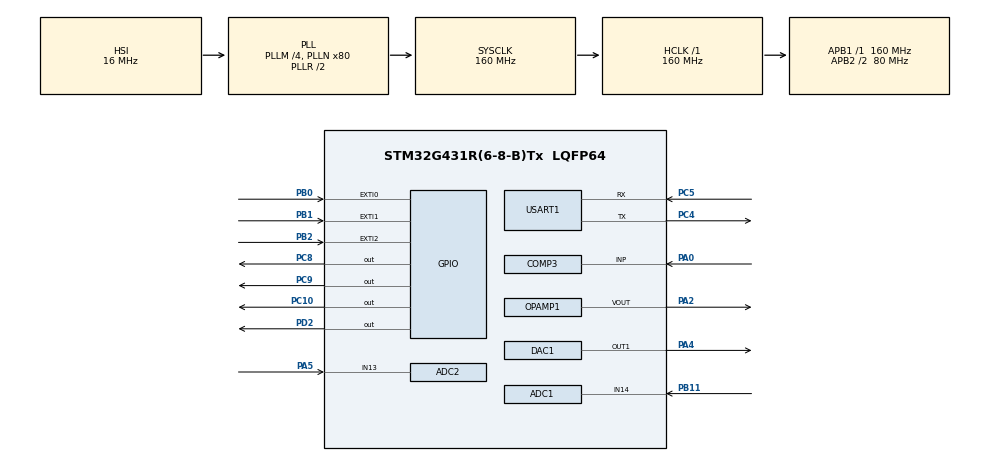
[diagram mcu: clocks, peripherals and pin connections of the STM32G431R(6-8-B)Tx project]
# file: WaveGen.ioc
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ADC1.Channel-0\#ChannelRegularConversion=ADC_CHANNEL_14
ADC1.NbrOfConversionFlag=1
ADC1.OffsetNumber-0\#ChannelRegularConversion=ADC_OFFSET_NONE
ADC1.Rank-0\#ChannelRegularConversion=1
ADC1.SamplingTime-0\#ChannelRegularConversion=ADC_SAMPLETIME_2CYCLES_5
ADC1.master=1
ADC2.Channel-1\#ChannelRegularConversion=ADC_CHANNEL_13
ADC2.ContinuousConvMode=DISABLE
ADC2.EnableRegularConversion=ENABLE
ADC2.ExternalTrigConv=ADC_EXTERNALTRIG_T4_TRGO
ADC2.NbrOfConversionFlag=1
ADC2.OffsetNumber-1\#ChannelRegularConversion=ADC_OFFSET_NONE
ADC2.Rank-1\#ChannelRegularConversion=1
ADC2.SamplingTime-1\#ChannelRegularConversion=ADC_SAMPLETIME_2CYCLES_5
COMP3.TriggerMode=COMP_TRIGGERMODE_IT_RISING
DAC1.DAC_OutputBuffer-DAC_OUT1=DAC_OUTPUTBUFFER_ENABLE
DAC1.DAC_SampleAndHold-DAC_OUT1=DAC_SAMPLEANDHOLD_DISABLE
DAC1.DAC_Trigger2_OUT1-DAC_OUT1=DAC_TRIGGER_SOFTWARE
DAC1.DAC_Trigger_OUT1-DAC_OUT1=DAC_TRIGGER_T6_TRGO
DAC1.WaveGeneration_OUT1-DAC_OUT1=DISABLE
DAC3.DAC_Trigger2_OUT1-DAC_OUT1_Int=DAC_TRIGGER_NONE
DAC3.DAC_Trigger_OUT1-DAC_OUT1_Int=DAC_TRIGGER_T6_TRGO
Dma.ADC1.3.Direction=DMA_PERIPH_TO_MEMORY
Dma.ADC1.3.EventEnable=DISABLE
Dma.ADC1.3.Instance=DMA1_Channel3
Dma.ADC1.3.MemDataAlignment=DMA_MDATAALIGN_HALFWORD
Dma.ADC1.3.MemInc=DMA_MINC_ENABLE
Dma.ADC1.3.Mode=DMA_CIRCULAR
Dma.ADC1.3.PeriphDataAlignment=DMA_PDATAALIGN_HALFWORD
Dma.ADC1.3.PeriphInc=DMA_PINC_DISABLE
Dma.ADC1.3.Polarity=HAL_DMAMUX_REQ_GEN_RISING
Dma.ADC1.3.Priority=DMA_PRIORITY_LOW
Dma.ADC1.3.RequestNumber=1
Dma.ADC1.3.SignalID=NONE
Dma.ADC1.3.SyncEnable=DISABLE
Dma.ADC1.3.SyncPolarity=HAL_DMAMUX_SYNC_NO_EVENT
Dma.ADC1.3.SyncRequestNumber=1
Dma.ADC1.3.SyncSignalID=NONE
Dma.ADC2.0.Direction=DMA_PERIPH_TO_MEMORY
Dma.ADC2.0.EventEnable=DISABLE
Dma.ADC2.0.Instance=DMA1_Channel2
Dma.ADC2.0.MemDataAlignment=DMA_MDATAALIGN_HALFWORD
Dma.ADC2.0.MemInc=DMA_MINC_ENABLE
Dma.ADC2.0.Mode=DMA_CIRCULAR
Dma.ADC2.0.PeriphDataAlignment=DMA_PDATAALIGN_HALFWORD
Dma.ADC2.0.PeriphInc=DMA_PINC_DISABLE
Dma.ADC2.0.Polarity=HAL_DMAMUX_REQ_GEN_RISING
Dma.ADC2.0.Priority=DMA_PRIORITY_LOW
Dma.ADC2.0.RequestNumber=1
Dma.ADC2.0.SignalID=NONE
Dma.ADC2.0.SyncEnable=DISABLE
Dma.ADC2.0.SyncPolarity=HAL_DMAMUX_SYNC_NO_EVENT
Dma.ADC2.0.SyncRequestNumber=1
Dma.ADC2.0.SyncSignalID=NONE
Dma.CORDIC_READ.1.Direction=DMA_PERIPH_TO_MEMORY
Dma.CORDIC_READ.1.EventEnable=DISABLE
Dma.CORDIC_READ.1.Instance=DMA2_Channel2
Dma.CORDIC_READ.1.MemDataAlignment=DMA_MDATAALIGN_WORD
Dma.CORDIC_READ.1.MemInc=DMA_MINC_ENABLE
Dma.CORDIC_READ.1.Mode=DMA_NORMAL
Dma.CORDIC_READ.1.PeriphDataAlignment=DMA_PDATAALIGN_WORD
Dma.CORDIC_READ.1.PeriphInc=DMA_PINC_DISABLE
Dma.CORDIC_READ.1.Polarity=HAL_DMAMUX_REQ_GEN_RISING
Dma.CORDIC_READ.1.Priority=DMA_PRIORITY_LOW
Dma.CORDIC_READ.1.RequestNumber=1
Dma.CORDIC_READ.1.SignalID=NONE
Dma.CORDIC_READ.1.SyncEnable=DISABLE
Dma.CORDIC_READ.1.SyncPolarity=HAL_DMAMUX_SYNC_NO_EVENT
Dma.CORDIC_READ.1.SyncRequestNumber=1
Dma.CORDIC_READ.1.SyncSignalID=NONE
Dma.CORDIC_WRITE.2.Direction=DMA_MEMORY_TO_PERIPH
Dma.CORDIC_WRITE.2.EventEnable=DISABLE
Dma.CORDIC_WRITE.2.Instance=DMA2_Channel3
Dma.CORDIC_WRITE.2.MemDataAlignment=DMA_MDATAALIGN_WORD
Dma.CORDIC_WRITE.2.MemInc=DMA_MINC_ENABLE
Dma.CORDIC_WRITE.2.Mode=DMA_NORMAL
Dma.CORDIC_WRITE.2.PeriphDataAlignment=DMA_PDATAALIGN_WORD
Dma.CORDIC_WRITE.2.PeriphInc=DMA_PINC_DISABLE
Dma.CORDIC_WRITE.2.Polarity=HAL_DMAMUX_REQ_GEN_RISING
Dma.CORDIC_WRITE.2.Priority=DMA_PRIORITY_LOW
Dma.CORDIC_WRITE.2.RequestNumber=1
Dma.CORDIC_WRITE.2.SignalID=NONE
Dma.CORDIC_WRITE.2.SyncEnable=DISABLE
Dma.CORDIC_WRITE.2.SyncPolarity=HAL_DMAMUX_SYNC_NO_EVENT
Dma.CORDIC_WRITE.2.SyncRequestNumber=1
Dma.CORDIC_WRITE.2.SyncSignalID=NONE
Dma.DAC1_CH1.5.Direction=DMA_MEMORY_TO_PERIPH
Dma.DAC1_CH1.5.EventEnable=DISABLE
Dma.DAC1_CH1.5.Instance=DMA2_Channel1
Dma.DAC1_CH1.5.MemDataAlignment=DMA_MDATAALIGN_HALFWORD
Dma.DAC1_CH1.5.MemInc=DMA_MINC_ENABLE
Dma.DAC1_CH1.5.Mode=DMA_CIRCULAR
Dma.DAC1_CH1.5.PeriphDataAlignment=DMA_PDATAALIGN_HALFWORD
Dma.DAC1_CH1.5.PeriphInc=DMA_PINC_DISABLE
Dma.DAC1_CH1.5.Polarity=HAL_DMAMUX_REQ_GEN_RISING
Dma.DAC1_CH1.5.Priority=DMA_PRIORITY_HIGH
Dma.DAC1_CH1.5.RequestNumber=1
Dma.DAC1_CH1.5.SignalID=NONE
Dma.DAC1_CH1.5.SyncEnable=DISABLE
Dma.DAC1_CH1.5.SyncPolarity=HAL_DMAMUX_SYNC_NO_EVENT
Dma.DAC1_CH1.5.SyncRequestNumber=1
Dma.DAC1_CH1.5.SyncSignalID=NONE
Dma.DAC3_CH1.4.Direction=DMA_MEMORY_TO_PERIPH
Dma.DAC3_CH1.4.EventEnable=DISABLE
Dma.DAC3_CH1.4.Instance=DMA1_Channel1
Dma.DAC3_CH1.4.MemDataAlignment=DMA_MDATAALIGN_HALFWORD
Dma.DAC3_CH1.4.MemInc=DMA_MINC_ENABLE
Dma.DAC3_CH1.4.Mode=DMA_CIRCULAR
Dma.DAC3_CH1.4.PeriphDataAlignment=DMA_PDATAALIGN_HALFWORD
Dma.DAC3_CH1.4.PeriphInc=DMA_PINC_DISABLE
Dma.DAC3_CH1.4.Polarity=HAL_DMAMUX_REQ_GEN_RISING
Dma.DAC3_CH1.4.Priority=DMA_PRIORITY_HIGH
Dma.DAC3_CH1.4.RequestNumber=1
Dma.DAC3_CH1.4.SignalID=NONE
Dma.DAC3_CH1.4.SyncEnable=DISABLE
Dma.DAC3_CH1.4.SyncPolarity=HAL_DMAMUX_SYNC_NO_EVENT
Dma.DAC3_CH1.4.SyncRequestNumber=1
Dma.DAC3_CH1.4.SyncSignalID=NONE
Dma.Request0=ADC2
Dma.Request1=CORDIC_READ
Dma.Request2=CORDIC_WRITE
Dma.Request3=ADC1
Dma.Request4=DAC3_CH1
Dma.Request5=DAC1_CH1
Dma.Request6=USART1_RX
Dma.USART1_RX.6.Direction=DMA_PERIPH_TO_MEMORY
Dma.USART1_RX.6.EventEnable=DISABLE
Dma.USART1_RX.6.Instance=DMA1_Channel4
Dma.USART1_RX.6.MemDataAlignment=DMA_MDATAALIGN_BYTE
Dma.USART1_RX.6.MemInc=DMA_MINC_ENABLE
Dma.USART1_RX.6.Mode=DMA_NORMAL
Dma.USART1_RX.6.PeriphDataAlignment=DMA_PDATAALIGN_BYTE
Dma.USART1_RX.6.PeriphInc=DMA_PINC_DISABLE
Dma.USART1_RX.6.Polarity=HAL_DMAMUX_REQ_GEN_RISING
Dma.USART1_RX.6.Priority=DMA_PRIORITY_LOW
Dma.USART1_RX.6.RequestNumber=1
Dma.USART1_RX.6.SignalID=NONE
Dma.USART1_RX.6.SyncEnable=DISABLE
Dma.USART1_RX.6.SyncPolarity=HAL_DMAMUX_SYNC_NO_EVENT
Dma.USART1_RX.6.SyncRequestNumber=1
Dma.USART1_RX.6.SyncSignalID=NONE
Mcu.Family=STM32G4
Mcu.Name=STM32G431R(6-8-B)Tx
Mcu.Package=LQFP64
NVIC.ADC1_2_IRQn=true\:2\:0\:true\:false\:true\:true\:true\:true
NVIC.COMP1_2_3_IRQn=true\:3\:0\:true\:false\:true\:false\:true\:true
NVIC.CORDIC_IRQn=true\:3\:0\:true\:false\:true\:true\:true\:true
NVIC.DMA1_Channel1_IRQn=true\:0\:0\:false\:false\:true\:false\:true\:true
NVIC.DMA1_Channel2_IRQn=true\:0\:0\:false\:false\:true\:false\:true\:true
NVIC.DMA1_Channel3_IRQn=true\:0\:0\:false\:false\:true\:false\:true\:true
NVIC.DMA1_Channel4_IRQn=true\:0\:0\:false\:false\:true\:false\:true\:true
NVIC.DMA2_Channel1_IRQn=true\:2\:0\:true\:false\:true\:false\:true\:true
NVIC.DMA2_Channel2_IRQn=true\:2\:0\:true\:false\:true\:false\:true\:true
NVIC.DMA2_Channel3_IRQn=true\:2\:0\:true\:false\:true\:false\:true\:true
NVIC.EXTI0_IRQn=true\:3\:0\:true\:false\:true\:true\:true\:true
NVIC.EXTI1_IRQn=true\:3\:0\:true\:false\:true\:true\:true\:true
NVIC.EXTI2_IRQn=true\:3\:0\:true\:false\:true\:true\:true\:true
NVIC.PriorityGroup=NVIC_PRIORITYGROUP_4
NVIC.TIM2_IRQn=true\:0\:0\:false\:false\:true\:true\:true\:true
NVIC.TIM4_IRQn=true\:2\:0\:true\:false\:true\:true\:true\:true
NVIC.TIM6_DAC_IRQn=true\:2\:0\:true\:false\:true\:true\:true\:true
NVIC.TIM7_IRQn=true\:2\:0\:true\:false\:true\:true\:true\:true
NVIC.USART1_IRQn=true\:0\:0\:false\:false\:true\:true\:true\:true
OPAMP1.PowerMode=OPAMP_POWERMODE_HIGHSPEED
PA0.Mode=INP
PA0.Signal=COMP3_INP
PA13.Mode=Serial_Wire
PA13.Signal=SYS_JTMS-SWDIO
PA14.Mode=Serial_Wire
PA14.Signal=SYS_JTCK-SWCLK
PA2.Mode=Follower-DAC_OUT2-INP
PA2.Signal=OPAMP1_VOUT
PA4.Signal=COMP_DAC11_group
PA5.Mode=IN13-Single-Ended
PA5.Signal=ADC2_IN13
PB0.Signal=GPXTI0
PB1.Signal=GPXTI1
PB11.Mode=IN14-Single-Ended
PB11.Signal=ADC1_IN14
PB2.Signal=GPXTI2
PC10.Signal=GPIO_Output
PC4.Mode=Asynchronous
PC4.Signal=USART1_TX
PC5.Mode=Asynchronous
PC5.Signal=USART1_RX
PC8.Signal=GPIO_Output
PC9.Signal=GPIO_Output
PD2.Signal=GPIO_Output
PF0-OSC_IN.Mode=HSE-External-Oscillator
PF0-OSC_IN.Signal=RCC_OSC_IN
PF1-OSC_OUT.Mode=HSE-External-Oscillator
PF1-OSC_OUT.Signal=RCC_OSC_OUT
ProjectManager.HeapSize=0x200
ProjectManager.StackSize=0x400
ProjectManager.TargetToolchain=MDK-ARM V5
RCC.ADC12Freq_Value=160000000
RCC.AHBFreq_Value=160000000
RCC.APB1Freq_Value=160000000
RCC.APB1TimFreq_Value=160000000
RCC.APB2CLKDivider=RCC_HCLK_DIV2
RCC.APB2Freq_Value=80000000
RCC.APB2TimFreq_Value=160000000
RCC.CortexFreq_Value=160000000
RCC.EXTERNAL_CLOCK_VALUE=12288000
RCC.HCLKFreq_Value=160000000
RCC.HSE_VALUE=8000000
RCC.HSI48_VALUE=48000000
RCC.HSI_VALUE=16000000
RCC.LSE_VALUE=32768
RCC.PLLM=RCC_PLLM_DIV4
RCC.PLLN=80
RCC.SYSCLKFreq_VALUE=160000000
RCC.SYSCLKSource=RCC_SYSCLKSOURCE_PLLCLK
RCC.USBFreq_Value=160000000
RCC.VCOOutputFreq_Value=320000000
SH.COMP_DAC11_group.0=DAC1_OUT1,DAC_OUT1
TIM2.AutoReloadPreload=TIM_AUTORELOAD_PRELOAD_ENABLE
TIM2.PeriodNoDither=15999
TIM2.TIM_MasterOutputTrigger=TIM_TRGO_UPDATE
TIM2.TIM_MasterSlaveMode=TIM_MASTERSLAVEMODE_ENABLE
TIM4.PeriodNoDither=9999
TIM4.Prescaler=1599
TIM4.TIM_MasterOutputTrigger=TIM_TRGO_UPDATE
TIM4.TIM_MasterSlaveMode=TIM_MASTERSLAVEMODE_DISABLE
TIM7.AutoReloadPreload=TIM_AUTORELOAD_PRELOAD_ENABLE
TIM7.Prescaler=159
USART1.VirtualMode-Asynchronous=VM_ASYNC
VP_COMP3_VS_VREFINT.Mode=VREFINT
VP_CORDIC_VS_CORDIC.Mode=CORDIC_Activate
VP_DAC3_VS_DACI1.Mode=DAC_OUT1_Int
VP_SYS_VS_DBSignals.Mode=DisableDeadBatterySignals
VP_TIM2_VS_ClockSourceINT.Mode=Internal
VP_TIM3_VS_ClockSourceITR.Mode=TriggerSource_ITR1
VP_TIM3_VS_ControllerModeClock.Mode=Clock Mode
VP_TIM4_VS_ClockSourceINT.Mode=Internal
VP_TIM7_VS_ClockSourceINT.Mode=Enable_Timer
board=custom

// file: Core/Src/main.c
/* USER CODE BEGIN Header */
/**
  ******************************************************************************
  * @file           : main.c
  * @brief          : Main program body
  ******************************************************************************
  * @attention
  *
  * Copyright (c) 2023 STMicroelectronics.
  * All rights reserved.
  *
  * This software is licensed under terms that can be found in the LICENSE file
  * in the root directory of this software component.
  * If no LICENSE file comes with this software, it is provided AS-IS.
  *
  ******************************************************************************
  */
/* USER CODE END Header */
#include "main.h"
#include "adc.h"
#include "comp.h"
#include "cordic.h"
#include "dac.h"
#include "dma.h"
#include "opamp.h"
#include "tim.h"
#include "usart.h"
#include "gpio.h"

/* USER CODE BEGIN Includes */

#include <stdbool.h>
#include <stdlib.h>
#include <stdarg.h>
#include <stdio.h>
#include <string.h>
#include <math.h>
#include "lcd.h"

/* USER CODE END Includes */

/* USER CODE BEGIN PTD */

typedef struct _WaveOptions {
	bool		on;
	uint8_t		pin;	// Pin PAx
	bool		altMode;// PWM: TIM mode & TRI: DAC1 mode, others ignore
	bool		opAmp;	// Alternatives ignore
	bool		cordic;
	uint16_t	A;		// CON mode ignore
	uint16_t	dA;		// CON mode ignore, x0.01
	uint16_t	F;		// CON mode ignore
	uint16_t	T;		// CON mode ignore
	uint16_t	O;
	uint16_t	dO;
	uint16_t	D;		// PWM only
	uint16_t	HT;		// PWM only
} WaveOptions;

/* USER CODE END PTD */

/* USER CODE BEGIN PD */

#define GRAPH_UPD_F 40 //Hz
#define Pi			3.141593f
#define DARK_MAG	/*0x9814*/ White

#define PwmFunc	(opts[0].A * (__HAL_TIM_GetCounter(&htim3) < opts[0].HT) + opts[0].O)
//#define TriFunc	(opts[1].A * ((__HAL_TIM_GetCounter(&htim3) % 2) ? (1 - (float)__HAL_TIM_GetCounter(&htim3) / __HAL_TIM_GET_AUTORELOAD(&htim3)) : \
	((float)__HAL_TIM_GetCounter(&htim3) / __HAL_TIM_GET_AUTORELOAD(&htim3))) + opts[1].O)
#define SawFunc (opts[3].A * (float)__HAL_TIM_GetCounter(&htim3) / __HAL_TIM_GET_AUTORELOAD(&htim3) + opts[3].O)
//Triangle wave alg: uses a saw func but twice the size
#define TriFunc (opts[1].A * fabs((float)__HAL_TIM_GetCounter(&htim3) / __HAL_TIM_GET_AUTORELOAD(&htim3) * 2 - 1) + opts[1].O)
#define SinFunc (opts[2].A * sin((float)__HAL_TIM_GetCounter(&htim3) / __HAL_TIM_GET_AUTORELOAD(&htim3) * Pi *2) / 2 + opts[2].O + 2048)
#define ConFunc opts[4].O

/* USER CODE END PD */

/* USER CODE BEGIN PM */

#define lds(x, s) \
	HAL_GPIO_WritePin(GPIOC, 0x0080 << x, s); \
	HAL_GPIO_WritePin(GPIOD, 0x0002, 1); \
	HAL_GPIO_WritePin(GPIOD, 0x0002, 0)

#define transmit(m) \
	HAL_UART_Transmit(&huart1, (uint8_t *)m, sizeof(m), 0x7FFF)

#define SinSend(x, f)	/*Call sinSend(cnt+1) right after the calculated value is used to minimize waiting time*/ \
	sinCalcBuf = ((int)(x * f * .5 - 1) << 16) + 1; \
	memset(sinCalcRes, 0, 2); \
	waitCalc = true; \
	HAL_CORDIC_Calculate_DMA(&hcordic, &sinCalcBuf, (int32_t *)sinCalcRes, 1, CORDIC_DMA_DIR_IN_OUT)

#define getKeyRange(v)                                                                                                           	\
    ((v < 2500) ? (v < 1500) ? 3 - !(v & 0xFF00) - !(v & 0xFC00) : 5 - !(v & 0xF800) : (v < 3600) ? 6 + (v > 3000) 				\
                                                                                                                : (v < 4000) << 3)

#define lcdSideUpdAll() \
	for(int i = 9; --i; ) lcdUpdSide(i, false); \
	lcdUpdSide(0, true)

#define debug(x) \
	uint8_t *t = format("%6d", __HAL_TIM_GetCounter(&htim3));\
	LCD_DisplayStringLine(Line1, t);\
	free(t)

/* USER CODE END PM */

/* USER CODE BEGIN PV */

const uint8_t topStr[] 		= "PWM Wave \0Triangle \0Sine Wave\0Sawtooth \0Constant ";
const uint8_t onOffStr[]	= "Off \0 On ";
const uint8_t altsStr[]		= " DA \0TIMR\0DA_1";

uint16_t 	adcBuf[2]	= {0}; 	// use as uint32_t in DMA
uint32_t 	adc1Buf		= 0;
//uint32_t	dac1val		= 0;
//uint32_t	dac3val		= 0;
uint8_t  	topSel 		= 0; 	// 0 - 4 valid
uint8_t		sideSel		= 0; 	// 0 - 7/8 valid
uint16_t	graphY		= 310;

WaveOptions opts[5];
WaveOptions *currentOpts = opts;

int32_t 	sinCalcBuf = 0;
volatile int16_t sinCalcRes[2] = {0};

uint16_t 	adcLoopbackLastVal = 220;
uint16_t 	dacGraphLastVal = 220;

bool 		waitCalc = false;

uint8_t 	rxBuf[128] 	= {0};
bool		rxIdle		= false;
uint32_t	rxLen		= 0;

/* USER CODE END PV */

void SystemClock_Config(void);
/* USER CODE BEGIN PFP */

uint8_t *format(char *, ...);

void HAL_TIM_PeriodElapsedCallback(TIM_HandleTypeDef *);
void HAL_GPIO_EXTI_Callback(uint16_t);
void HAL_COMP_TriggerCallback(COMP_HandleTypeDef *);
void HAL_CORDIC_CalculateCpltCallback(CORDIC_HandleTypeDef *);

void emuSetTim(const uint16_t);
void lcdSideShow(uint8_t, const uint8_t *, bool, bool);
void lcdUpdSide(uint8_t , bool);
void drawPt(uint16_t, uint16_t, uint16_t);
void graphReset(void);
void AAProc(uint16_t, uint16_t);

/* USER CODE END PFP */

int main(void)
{

  /* MCU Configuration--------------------------------------------------------*/

  /* Reset of all peripherals, Initializes the Flash interface and the Systick. */
  HAL_Init();

  /* Configure the system clock */
  SystemClock_Config();

  /* Initialize all configured peripherals */
  MX_GPIO_Init();
  MX_DMA_Init();
  MX_DAC3_Init();
  MX_OPAMP1_Init();
  MX_ADC2_Init();
  MX_CORDIC_Init();
  MX_DAC1_Init();
  MX_TIM2_Init();
  MX_COMP3_Init();
  MX_TIM7_Init();
  MX_TIM4_Init();
  MX_TIM3_Init();
  MX_ADC1_Init();
  MX_USART1_UART_Init();
  /* USER CODE BEGIN 2 */

	//options init
	for(int i = 5; --i; ) {
		currentOpts->on 	= false; 	//str+0, +5
		currentOpts->pin	= 2u;		//format
		currentOpts->altMode= false;	//str+10, +15
		currentOpts->opAmp	= true;		//"OAmp"
		currentOpts->cordic = false;	//"Cord"
		currentOpts->A		= 4095;		//No display
		currentOpts->dA		= 330;
		currentOpts->D		= 0;
		currentOpts->F		= 1;
		currentOpts->HT		= 0;		//No display
		//currentOpts->T	= 1;		//No display
		currentOpts->O		= 0;		//No display
		currentOpts->dO		= 0;
		++currentOpts;
	}
	currentOpts = opts;

	transmit("Initializing...");
	uint8_t *txBuf = (uint8_t *)"Init......";
	HAL_UART_Transmit_DMA(&huart1, txBuf, 11);
	__HAL_UART_ENABLE_IT(&huart1, UART_IT_IDLE);
	HAL_UART_Receive_DMA(&huart1, rxBuf, 128);

	CORDIC_ConfigTypeDef cordicCfg;
	cordicCfg.Function 	= CORDIC_FUNCTION_SINE;
	cordicCfg.InSize	= CORDIC_INSIZE_16BITS;
	cordicCfg.OutSize	= CORDIC_OUTSIZE_16BITS;
	cordicCfg.Scale		= CORDIC_SCALE_0;
	cordicCfg.NbRead	= CORDIC_NBREAD_2;
	cordicCfg.NbWrite	= CORDIC_NBWRITE_2;
	cordicCfg.Precision = CORDIC_PRECISION_10CYCLES;
	HAL_CORDIC_Configure(&hcordic, &cordicCfg);

	HAL_OPAMP_SelfCalibrate(&hopamp1);
	HAL_OPAMP_Start(&hopamp1);

    LCD_Init();
    LCD_SetBackColor(Black);
    LCD_SetTextColor(White);
    LCD_Clear(Black);
    LCD_DrawRect( 30, 320, 200, 250);
	LCD_DrawLine( 58, 310, 230, Horizontal); //0.0V
	LCD_DrawLine( 73, 310, 230, Horizontal); //1.0V
	LCD_DrawLine(122, 310, 230, Horizontal); //2.0V
	LCD_DrawLine(171, 310, 230, Horizontal); //3.0V
	LCD_DrawLine(220, 310, 230, Horizontal); //3.3V
	LCD_DisplayStringLine(Line0, (uint8_t *)(topStr + topSel * 10));
    lcdSideUpdAll();

	HAL_COMP_Start(&hcomp3);

    HAL_ADCEx_Calibration_Start(&hadc2, ADC_SINGLE_ENDED);
    HAL_ADC_Start_DMA(&hadc2, (uint32_t *)adcBuf, 2);

	HAL_ADCEx_Calibration_Start(&hadc1, ADC_SINGLE_ENDED);
	HAL_ADC_Start_DMA(&hadc1, &adc1Buf, 1);

	HAL_DAC_SetValue(&hdac1, DAC_CHANNEL_1, DAC_ALIGN_12B_R, 0);
	HAL_DAC_SetValue(&hdac3, DAC_CHANNEL_1, DAC_ALIGN_12B_R, 0);
	HAL_DAC_Start(&hdac1, DAC_CHANNEL_1);
	HAL_DAC_Start(&hdac3, DAC_CHANNEL_1);
//	HAL_DAC_Start_DMA(&hdac1, DAC_CHANNEL_1, &dac1val, 1, DAC_ALIGN_12B_R);
//	HAL_DAC_Start_DMA(&hdac3, DAC_CHANNEL_1, &dac3val, 1, DAC_ALIGN_12B_R);

	__HAL_TIM_SetAutoreload(&htim7, 1000000 / GRAPH_UPD_F);

	HAL_TIM_Base_Start_IT(&htim4); //ADC trigger
	HAL_TIM_Base_Start(&htim3);	   //DAC clock
	//HAL_TIM_Base_Start_IT(&htim6); //DAC updater
	HAL_TIM_Base_Start_IT(&htim2); //new DAC updater
	//HAL_TIM_Base_Start_IT(&htim7); //Graphic updater

	register int 	kr;
	register bool	waitLift = false;

  /* USER CODE END 2 */

  /* Infinite loop */
  /* USER CODE BEGIN WHILE */
    while (1)
    {
		if(rxIdle) {
			rxIdle = false;
			uint8_t *t = format("Len: %d, Data: %s", rxLen, rxBuf);
			transmit(t);
			free(t);
			HAL_UART_Receive_DMA(&huart1, rxBuf, 128);
		}
		kr = getKeyRange(adcBuf[0]);
//		uint8_t *t = format("%4d %4d", kr, adcBuf[0]);
//		LCD_DisplayStringLine(Line8, t);
//		free(t);
		if(!kr) {
			waitLift = false;
			continue;
		}
	    if(!waitLift && kr == getKeyRange(adcBuf[1])) {
			switch(getKeyRange(adcBuf[0])) {
				case 1: //-1000
					if(sideSel == 5) {
						currentOpts->dA = 0;
						currentOpts->A	= currentOpts->dA / 330.0 * 0x0FFF;
						break;
					}
					if(sideSel == 6) {
						if(currentOpts->F <= 1001) currentOpts->F = 1;
						else currentOpts->F -= 1000;
						__HAL_TIM_SetAutoreload(&htim3, 10000 / currentOpts->F);
						break;
					}
					if(sideSel == 7) {
						currentOpts->dO = 0;
						currentOpts->O	= currentOpts->dO / 330.0 * 0x0FFF;
						break;
					}
					if(sideSel == 8) {
						currentOpts->D = 0;
						break;
					}
					break;
				case 2: //-100
					if(sideSel == 5) {
						if(currentOpts->dA < 101) currentOpts->dA = 0;
						else currentOpts->dA -= 100;
						currentOpts->A	= currentOpts->dA / 330.0 * 0x0FFF;
						break;
					}
					if(sideSel == 6) {
						if(currentOpts->F < 102) currentOpts->F = 1;
						else currentOpts->F -= 100;
						__HAL_TIM_SetAutoreload(&htim3, 10000 / currentOpts->F);
						break;
					}
					if(sideSel == 7) {
						if(currentOpts->dO < 101) currentOpts->O = 0;
						else currentOpts->dO -= 100;
						currentOpts->O	= currentOpts->dO / 330.0 * 0x0FFF;
					}
					if(sideSel == 8) {
						currentOpts->D = 0;
						break;
					}
					break;
				case 3: //-10
					if(sideSel == 5) {
						if(currentOpts->dA < 11) currentOpts->dA = 0;
						else currentOpts->dA -= 10;
						currentOpts->A	= currentOpts->dA / 330.0 * 0x0FFF;
						break;
					}
					if(sideSel == 6) {
						if(currentOpts->F < 12) currentOpts->F = 1;
						else currentOpts->F -= 10;
						__HAL_TIM_SetAutoreload(&htim3, 10000 / currentOpts->F);
						break;
					}
					if(sideSel == 7) {
						if(currentOpts->dO < 11) currentOpts->O = 0;
						else currentOpts->dO -= 10;
						currentOpts->O	= currentOpts->dO / 330.0 * 0x0FFF;
					}
					if(sideSel == 8) {
						if(currentOpts->D < 11) currentOpts->D = 0;
						else currentOpts->D -= 10;
						break;
					}
					break;
				case 4: //-1
					if(sideSel == 5) {
						if(currentOpts->dA < 1) break;
						currentOpts->dA--;
						currentOpts->A	= currentOpts->dA / 330.0 * 0x0FFF;
						break;
					}
					if(sideSel == 6) {
						if(currentOpts->F < 2) break;
						currentOpts->F--;
						__HAL_TIM_SetAutoreload(&htim3, 10000 / currentOpts->F);
						break;
					}
					if(sideSel == 7) {
						if(currentOpts->dO < 1) break;
						currentOpts->dO--;
						currentOpts->O	= currentOpts->dO / 330.0 * 0x0FFF;
					}
					if(sideSel == 8) {
						if(currentOpts->D < 1) break;
						currentOpts->D--;
						break;
					}
					break;
				case 5: //+1000
					if(sideSel == 5) {
						currentOpts->dA = 330;
						currentOpts->A	= currentOpts->dA / 330.0 * 0x0FFF;
						break;
					}
					if(sideSel == 6) {
						if(currentOpts->F > 8998) currentOpts->F = 9999;
						else currentOpts->F += 1000;
						__HAL_TIM_SetAutoreload(&htim3, 10000 / currentOpts->F);
						break;
					}
					if(sideSel == 7) {
						currentOpts->dO = 330 - currentOpts->dA;
						currentOpts->O	= currentOpts->dO / 330.0 * 0x0FFF;
						break;
					}
					if(sideSel == 8) {
						currentOpts->D = 100;
						break;
					}
					break;
				case 6: //+100
					if(sideSel == 5) {
						if(currentOpts->dO + currentOpts->dA > 229) currentOpts->A = 330 - currentOpts->dA;
						else currentOpts->dA += 100;
						currentOpts->A	= currentOpts->dA / 330.0 * 0x0FFF;
						break;
					}
					if(sideSel == 6) {
						if(currentOpts->F > 9898) currentOpts->F = 9999;
						else currentOpts->F += 100;
						__HAL_TIM_SetAutoreload(&htim3, 10000 / currentOpts->F);
						break;
					}
					if(sideSel == 7) {
						if(currentOpts->dO + currentOpts->dA > 229) currentOpts->O = 330 - currentOpts->dA;
						else currentOpts->dO += 100;
						currentOpts->O	= currentOpts->dO / 330.0 * 0x0FFF;
						break;
					}
					if(sideSel == 8) {
						currentOpts->D = 100;
						break;
					}
					break;
				case 7: //+10
					if(sideSel == 5) {
						if(currentOpts->dO + currentOpts->dA > 319) currentOpts->dA = 330 - currentOpts->dA;
						else currentOpts->dA += 10;
						currentOpts->A	= currentOpts->dA / 330.0 * 0x0FFF;
						break;
					}
					if(sideSel == 6) {
						if(currentOpts->F > 9988) currentOpts->F = 9999;
						else currentOpts->F += 10;
						__HAL_TIM_SetAutoreload(&htim3, 10000 / currentOpts->F);
						break;
					}
					if(sideSel == 7) {
						if(currentOpts->dO + currentOpts->dA > 319) currentOpts->O = 330 - currentOpts->dA;
						else currentOpts->dO += 10;
						currentOpts->O	= currentOpts->dO / 330.0 * 0x0FFF;
						break;
					}
					if(sideSel == 8) {
						if(currentOpts->D > 89) currentOpts->D = 100;
						else currentOpts->D += 10;
						break;
					}
					break;
				case 8: //+1
					if(sideSel == 5) {
						if(currentOpts->dO + currentOpts->dA > 329) break;
						currentOpts->dA++;
						currentOpts->A	= currentOpts->dA / 330.0 * 0x0FFF;
						break;
					}
					if(sideSel == 6) {
						if(currentOpts->F > 9988) break;
						currentOpts->F++;
						__HAL_TIM_SetAutoreload(&htim3, 10000 / currentOpts->F);
						break;
					}
					if(sideSel == 7) {
						if(currentOpts->dO + currentOpts->dA > 319) break;
						currentOpts->dO++;
						currentOpts->O	= currentOpts->dO / 330.0 * 0x0FFF;
						break;
					}
					if(sideSel == 8) {
						if(currentOpts->D > 99) break;
						currentOpts->D++;
						break;
					}
					break;
			}
			if(topSel == 0) currentOpts->HT =  100 * currentOpts->D / (float)opts[0].F;
			lcdUpdSide(sideSel, true);
			waitLift = true;
		}

    /* USER CODE END WHILE */

    }
}

void SystemClock_Config(void)
{
  RCC_OscInitTypeDef RCC_OscInitStruct = {0};
  RCC_ClkInitTypeDef RCC_ClkInitStruct = {0};

  /** Configure the main internal regulator output voltage
  */
  HAL_PWREx_ControlVoltageScaling(PWR_REGULATOR_VOLTAGE_SCALE1_BOOST);

  /** Initializes the RCC Oscillators according to the specified parameters
  * in the RCC_OscInitTypeDef structure.
  */
  RCC_OscInitStruct.OscillatorType = RCC_OSCILLATORTYPE_HSI;
  RCC_OscInitStruct.HSIState = RCC_HSI_ON;
  RCC_OscInitStruct.HSICalibrationValue = RCC_HSICALIBRATION_DEFAULT;
  RCC_OscInitStruct.PLL.PLLState = RCC_PLL_ON;
  RCC_OscInitStruct.PLL.PLLSource = RCC_PLLSOURCE_HSI;
  RCC_OscInitStruct.PLL.PLLM = RCC_PLLM_DIV4;
  RCC_OscInitStruct.PLL.PLLN = 80;
  RCC_OscInitStruct.PLL.PLLP = RCC_PLLP_DIV2;
  RCC_OscInitStruct.PLL.PLLQ = RCC_PLLQ_DIV2;
  RCC_OscInitStruct.PLL.PLLR = RCC_PLLR_DIV2;
  if (HAL_RCC_OscConfig(&RCC_OscInitStruct) != HAL_OK)
  {
    Error_Handler();
  }

  /** Initializes the CPU, AHB and APB buses clocks
  */
  RCC_ClkInitStruct.ClockType = RCC_CLOCKTYPE_HCLK|RCC_CLOCKTYPE_SYSCLK
                              |RCC_CLOCKTYPE_PCLK1|RCC_CLOCKTYPE_PCLK2;
  RCC_ClkInitStruct.SYSCLKSource = RCC_SYSCLKSOURCE_PLLCLK;
  RCC_ClkInitStruct.AHBCLKDivider = RCC_SYSCLK_DIV1;
  RCC_ClkInitStruct.APB1CLKDivider = RCC_HCLK_DIV1;
  RCC_ClkInitStruct.APB2CLKDivider = RCC_HCLK_DIV2;

  if (HAL_RCC_ClockConfig(&RCC_ClkInitStruct, FLASH_LATENCY_4) != HAL_OK)
  {
    Error_Handler();
  }
}

/* USER CODE BEGIN 4 */

void HAL_TIM_PeriodElapsedCallback(TIM_HandleTypeDef *htim) {
	if(htim->Instance == TIM4) {
		HAL_ADC_Start_DMA(&hadc2, (uint32_t *)adcBuf, 2);
		HAL_ADC_Start_DMA(&hadc1, &adc1Buf, 1);
		return;
	}
	if(htim->Instance == TIM2) { //DAC update
		uint32_t val;
		if(opts[2].on && opts[2].cordic) {
			while(waitCalc);
			val = opts[2].A * sinCalcRes[0] / 2 + opts[2].O + 2048;
			SinSend(__HAL_TIM_GetCounter(&htim3) + 1, opts[2].F);
		}
		else if(opts[0].on) val = PwmFunc;
		else if(opts[1].on) val = TriFunc;
		else if(opts[2].on) val = SinFunc;
		else if(opts[3].on) val = SawFunc;
		else if(opts[4].on) val = ConFunc;
		else val = 0;

		if(HAL_DAC_SetValue(&hdac3, DAC_CHANNEL_1, DAC_ALIGN_12B_R, val) != HAL_OK) LCD_DisplayStringLine(Line1, (uint8_t *)"ERR-DAC3");
		if(HAL_DAC_SetValue(&hdac1, DAC_CHANNEL_1, DAC_ALIGN_12B_R, val) != HAL_OK) LCD_DisplayStringLine(Line2, (uint8_t *)"ERR-DAC1");
//		if(HAL_DAC_Start(&hdac1, DAC_CHANNEL_1) != HAL_OK) LCD_DisplayStringLine(Line2, (uint8_t *)"ERR-DAC1-start");
//		if(HAL_DAC_Start(&hdac3, DAC_CHANNEL_1) != HAL_OK) LCD_DisplayStringLine(Line1, (uint8_t *)"ERR-DAC3-start");
//		dac1val = val;
//		dac3val = val;

//		debug(val);

		return;
	}
	if(htim->Instance == TIM7) { //Graphics
		//TODO: DAC graph
		uint16_t val;
		if(opts[2].on && opts[2].cordic) {
			while(waitCalc);
			val = sinCalcRes[0];
		}
		else if(opts[0].on) val = PwmFunc;
		else if(opts[1].on) val = TriFunc;
		else if(opts[2].on) val = SinFunc;
		else if(opts[3].on) val = SawFunc;
		else if(opts[4].on) val = ConFunc;

		if(val > 4096) val = 4096;

		register uint16_t v = 220 - val * 0.03947754, vl = dacGraphLastVal;
		if(graphY == 310) {
			drawPt(v, 310, Magenta);
		}
		else {
			if(v > vl) {
				while(v >= vl) {
					drawPt(vl++, graphY, Magenta);
//					AAProc(vl, graphY + 1);
//					AAProc(vl, graphY - 1);
//					AAProc(vl - 1, graphY);
//					AAProc(vl + 1, graphY);
				}
			}
			else {
				while(v <= vl) {
					drawPt(vl--, graphY, Magenta);
//					AAProc(vl, graphY + 1);
//					AAProc(vl, graphY - 1);
//					AAProc(vl + 1, graphY);
//					AAProc(vl - 1, graphY);
				}
			}
		}
		dacGraphLastVal = v;

		//ADC1 loopback graph - for testing
//		v = 220 - adc1Buf * 0.03947754, vl = adcLoopbackLastVal;
//		if(graphY == 310) {
//			drawPt((uint16_t)v, 310, Yellow);
//			graphY = 309;
//		}
//		else {
//			if(v > vl) {
//				while(v >= vl++) drawPt(vl, graphY, Yellow);
//			}
//			else {
//				while(v <= vl--) drawPt(vl, graphY, Yellow);
//			}
			//drawPt((uint16_t)(220 - adc1Buf * 3.3 / 4096 * 49), graphY--, Yellow);
			if(--graphY == 80) graphReset();
//		}
		adcLoopbackLastVal = v;
	}
}
void AAProc(uint16_t x, uint16_t y) {
	LCD_SetCursor(x, y);
	if(LCD_ReadRAM() == Magenta || LCD_ReadRAM() == DARK_MAG) return;
	int cnt = 2;
	LCD_SetCursor(x, y - 1);
	if(LCD_ReadRAM() == Magenta) --cnt;
	LCD_SetCursor(x, y + 1);
	if(LCD_ReadRAM() == Magenta && --cnt == 0) goto paint;
	LCD_SetCursor(x - 1, y);
	if(LCD_ReadRAM() == Magenta && --cnt == 0) goto paint;
	LCD_SetCursor(x + 1, y);
	if(LCD_ReadRAM() == Magenta && --cnt == 0) goto paint;
	return;
	paint:
	drawPt(x, y, DARK_MAG);
}
void drawPt(uint16_t x, uint16_t y, uint16_t color) {
	LCD_SetCursor(x, y);
	LCD_WriteRAM_Prepare();
	LCD_WriteRAM(color);
}
void HAL_GPIO_EXTI_Callback(uint16_t pin) {
	switch(pin) {
		case GPIO_PIN_0: //b1 : switch waves
			HAL_Delay(128);
			if(HAL_GPIO_ReadPin(GPIOB, GPIO_PIN_0) != GPIO_PIN_SET) return;
			if(++topSel == 5) {
				topSel = 0;
				currentOpts = opts;
			}
			else ++currentOpts;
			LCD_DisplayStringLine(Line0, (uint8_t *)(topStr + topSel * 10));
			for(int i = 9; --i; ) lcdUpdSide(i, false);
			lcdUpdSide(0, true);
			sideSel = 0;
			if(topSel == 2) { //sine, start early calc
				SinSend(0, currentOpts->F);
			}
			break;
		case GPIO_PIN_1: //b2 : switch options
			HAL_Delay(128);
			if(HAL_GPIO_ReadPin(GPIOB, GPIO_PIN_1) != GPIO_PIN_SET) return;
			lcdUpdSide(sideSel, false);
			if(++sideSel == 8 + (!topSel)) sideSel = 0;
			lcdUpdSide(sideSel, true);
			break;
		case GPIO_PIN_2: //b3 : toggle
			HAL_Delay(32);
			if(HAL_GPIO_ReadPin(GPIOB, GPIO_PIN_2) != GPIO_PIN_SET) return;
			switch(sideSel) {
				case 0:
					currentOpts->on = ! currentOpts->on;
					/*if(!currentOpts->altMode)*/ emuSetTim(currentOpts->F);
					//lcdUpdSide(0, true); //FIXME
					lcdSideShow(Line0, onOffStr + 5 * currentOpts->on, true, currentOpts->on);
					lcdUpdSide(1, false);
					break;
				case 2:
					currentOpts->altMode = !currentOpts->altMode;
					lcdUpdSide(2, true);
					break;
				case 3:
					currentOpts->opAmp = !currentOpts->opAmp;
					lcdUpdSide(3, true);
					break;
				case 4:
					currentOpts->cordic = !currentOpts->cordic;
					lcdUpdSide(4, true);
			}
			break;
	}
}

void HAL_COMP_TriggerCallback(COMP_HandleTypeDef *hcomp) { //b4 : Redraw graphs
	HAL_Delay(32);
	if(HAL_COMP_GetOutputLevel(&hcomp3) != COMP_OUTPUT_LEVEL_HIGH) return;
	HAL_TIM_Base_Stop_IT(&htim7);
	graphReset();
	__HAL_TIM_SET_COUNTER(&htim7, 0);
	HAL_TIM_Base_Start_IT(&htim7);
}

void graphReset() {
	for(int i = 10; --i; ) LCD_DisplayStringLine(i * 24, (uint8_t *)"                ");
    LCD_DrawRect( 30, 320, 200, 250);
	LCD_SetTextColor(Red);
	LCD_DrawLine( 58, 310, 230, Horizontal); //0.0V
	LCD_DrawLine(220, 310, 230, Horizontal); //3.3V
	LCD_SetTextColor(White);
	LCD_DrawLine( 73, 310, 230, Horizontal); //1.0V
	LCD_DrawLine(122, 310, 230, Horizontal); //2.0V
	LCD_DrawLine(171, 310, 230, Horizontal); //3.0V
	graphY = 310;
}
void lcdUpdSide(uint8_t ln, bool hl) {
	switch(ln) {
		case 0:
			lcdSideShow(Line0, onOffStr + 5 * currentOpts->on, hl, currentOpts->on);
			break;
		case 1:
			if(!currentOpts->on) lcdSideShow(Line1, (uint8_t *)"----", hl, false);
			else {
				uint8_t *t = format("PA%2d", currentOpts->pin);
				lcdSideShow(Line1, t, false, true);
				free(t);
			}
			break;
		case 2:
			lcdSideShow(Line2, altsStr + ((topSel < 2) ? currentOpts->altMode * (1 + (topSel == 1)) * 5 : 0) , hl, currentOpts->altMode);
			break;
		case 3:
			lcdSideShow(Line3, (uint8_t *)"OAmp", hl, currentOpts->opAmp);
			break;
		case 4:
			lcdSideShow(Line4, (topSel == 2) ? (uint8_t *)"Cord" : (uint8_t *)"----", hl, (topSel == 2) & currentOpts->cordic);
			break;
		case 5:
			if(hl) {
				uint8_t *t = format("%4.2f", currentOpts->dA * .01);
				lcdSideShow(Line5, t, true, false);
				free(t);
			}
			else lcdSideShow(Line5, (uint8_t *)"Ampl", false, false);
			break;
		case 6:
			if(hl) {
				uint8_t *t = format("%4d", currentOpts->F);
				lcdSideShow(Line6, t, true, false);
				free(t);
			}
			else lcdSideShow(Line6, (uint8_t *)"Freq", false, false);
			break;
		case 7:
			if(hl) {
				uint8_t *t = format("%4.2f", currentOpts->dO * .01);
				lcdSideShow(Line7, t, true, false);
				free(t);
			}
			else lcdSideShow(Line7, (uint8_t *)"Ofst", false, false);
			break;
		case 8:
			if(topSel) lcdSideShow(Line8, (uint8_t *)"    ", hl, false);
			else if(hl) {
				uint8_t *t = format("%4d", currentOpts->D);
				lcdSideShow(Line8, t, true, false);
				free(t);
			}
			else lcdSideShow(Line8, (uint8_t *)"Duty", false, false);
			break;
	}
//	LCD_SetBackColor(Black);
//	LCD_SetTextColor(White);
}

void lcdSideShow(uint8_t Line, const uint8_t *ptr, bool highlight, bool green) {
	u32 i = 16;
	u16 refcolumn = 63;//319;
	if(highlight) {
		LCD_SetBackColor(Blue2);
		LCD_SetTextColor(Black);
	}else if(green) {
		LCD_SetBackColor(Green);
		LCD_SetTextColor(Black);
	}
	while ((*ptr != 0) && (i < 20))	 //	20
	{
		LCD_DisplayChar(Line, refcolumn, *ptr);
		refcolumn -= 16;
		ptr++;
		i++;
	}
	LCD_SetBackColor(Black);
	LCD_SetTextColor(White);
}

inline void emuSetTim(const uint16_t f) {
	HAL_TIM_Base_Stop_IT(&htim3);
	__HAL_TIM_SetAutoreload(&htim3, (uint16_t)(10000 / f));
	__HAL_TIM_SetCounter(&htim3, 65535);
	HAL_TIM_Base_Start_IT(&htim3);
}

void HAL_CORDIC_CalculateCpltCallback(CORDIC_HandleTypeDef *hcordic) {
	if(hcordic->State == HAL_CORDIC_STATE_READY) waitCalc = false;
}

uint8_t *format(char *fmt, ...) {
	va_list ap;
	va_start(ap, fmt);
	uint8_t *buffer = (uint8_t *)malloc(16);
	if(buffer == NULL) return NULL;
	memset(buffer, 0, 16);
	vsprintf((char *)buffer, fmt, ap);
	return buffer;
}

/* USER CODE END 4 */

void Error_Handler(void)
{
  __disable_irq();
  while (1)
  {
  }
}
